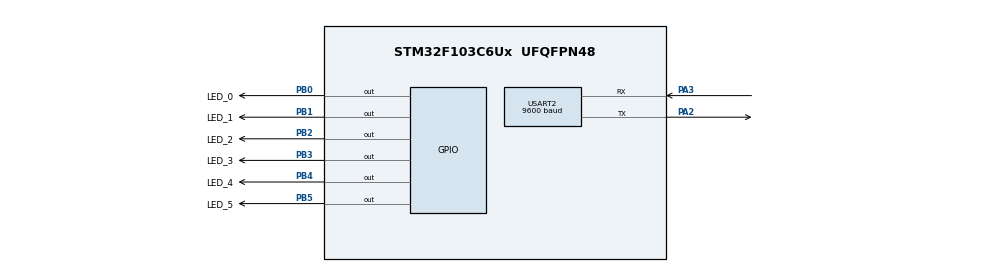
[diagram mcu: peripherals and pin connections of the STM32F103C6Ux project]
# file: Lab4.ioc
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Mcu.Family=STM32F1
Mcu.Name=STM32F103C6Ux
Mcu.Package=UFQFPN48
NVIC.PriorityGroup=NVIC_PRIORITYGROUP_4
NVIC.TIM2_IRQn=true\:0\:0\:false\:false\:true\:true\:true
NVIC.USART2_IRQn=true\:0\:0\:false\:false\:true\:true\:true
PA2.Mode=Asynchronous
PA2.Signal=USART2_TX
PA3.Mode=Asynchronous
PA3.Signal=USART2_RX
PB0.GPIO_Label=LED_0
PB0.Signal=GPIO_Output
PB1.GPIO_Label=LED_1
PB1.Signal=GPIO_Output
PB2.GPIO_Label=LED_2
PB2.Signal=GPIO_Output
PB3.GPIO_Label=LED_3
PB3.Signal=GPIO_Output
PB4.GPIO_Label=LED_4
PB4.Signal=GPIO_Output
PB5.GPIO_Label=LED_5
PB5.Signal=GPIO_Output
ProjectManager.HeapSize=0x200
ProjectManager.StackSize=0x400
ProjectManager.TargetToolchain=STM32CubeIDE
RCC.APB1Freq_Value=8000000
RCC.APB2Freq_Value=8000000
TIM2.Period=10
TIM2.Prescaler=7999
USART2.BaudRate=9600
USART2.VirtualMode=VM_ASYNC
VP_SYS_VS_ND.Mode=No_Debug
VP_TIM2_VS_ClockSourceINT.Mode=Internal
board=custom

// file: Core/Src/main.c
/* USER CODE BEGIN Header */
/**
 ******************************************************************************
 * @file           : main.c
 * @brief          : Main program body
 ******************************************************************************
 * @attention
 *
 * <h2><center>&copy; Copyright (c) 2022 STMicroelectronics.
 * All rights reserved.</center></h2>
 *
 * This software component is licensed by ST under BSD 3-Clause license,
 * the "License"; You may not use this file except in compliance with the
 * License. You may obtain a copy of the License at:
 *                        opensource.org/licenses/BSD-3-Clause
 *
 ******************************************************************************
 */
/* USER CODE END Header */
#include "main.h"

/* USER CODE BEGIN Includes */
#include"stdio.h"
#include"math.h"
#include"scheduler.h"
#include"timer.h"
#include"linkedList.h"
/* USER CODE END Includes */

TIM_HandleTypeDef htim2;

UART_HandleTypeDef huart2;

void SystemClock_Config(void);
static void MX_TIM2_Init(void);
static void MX_GPIO_Init(void);
static void MX_USART2_UART_Init(void);

/* USER CODE BEGIN 0 */
void ledTest_0() {
	HAL_GPIO_TogglePin(LED_0_GPIO_Port, LED_0_Pin);
}
void ledTest_1() {
	HAL_GPIO_TogglePin(LED_1_GPIO_Port, LED_1_Pin);
}
void ledTest_2() {
	HAL_GPIO_TogglePin(LED_2_GPIO_Port, LED_2_Pin);
}
void ledTest_3() {
	HAL_GPIO_TogglePin(LED_3_GPIO_Port, LED_3_Pin);
}
void ledTest_4() {
	HAL_GPIO_TogglePin(LED_4_GPIO_Port, LED_4_Pin);
}
void ledTest_5() {
	HAL_GPIO_TogglePin(LED_5_GPIO_Port, LED_5_Pin);
}
/* USER CODE END 0 */

int main(void) {

	/* MCU Configuration--------------------------------------------------------*/

	/* Reset of all peripherals, Initializes the Flash interface and the Systick. */
	HAL_Init();

	/* Configure the system clock */
	SystemClock_Config();

	/* Initialize all configured peripherals */
	MX_TIM2_Init();
	MX_GPIO_Init();
	MX_USART2_UART_Init();
	/* USER CODE BEGIN 2 */
	HAL_TIM_Base_Start_IT(&htim2);
	/* USER CODE END 2 */

	/* Infinite loop */
	/* USER CODE BEGIN WHILE */
	SCH_Init();
	//Create timer to test SCH_Delete Function
	setTimer0(10000);
	uint8_t send_data[40];
	//Create 5 task
	SCH_Add_Task(ledTest_0, 500, 500);
	uint8_t index1 = SCH_Add_Task(ledTest_1, 500, 1000);
	SCH_Add_Task(ledTest_2, 500, 1500);
	SCH_Add_Task(ledTest_3, 500, 2000);
	SCH_Add_Task(ledTest_4, 500, 2500);
	//Create one shot task
	SCH_Add_Task(ledTest_5, 5000, 0);
	while (1) {
		SCH_Dispatch_Tasks();
		if (timer0_flag == 1) {
			timer0_flag = 0;
			//Delete task
			SCH_Delete_Task(index1);
		}
		if (flag_uart == 1) {
			sprintf((char*) send_data, "Timestamp is %d with TaskID is: %d\r\n",
					data, data_id);
			HAL_UART_Transmit(&huart2, (uint8_t*) send_data, 40, 500);
			flag_uart = 0;
		}
		/* USER CODE END WHILE */

	}
}

void SystemClock_Config(void) {
	RCC_OscInitTypeDef RCC_OscInitStruct = { 0 };
	RCC_ClkInitTypeDef RCC_ClkInitStruct = { 0 };

	/** Initializes the RCC Oscillators according to the specified parameters
	 * in the RCC_OscInitTypeDef structure.
	 */
	RCC_OscInitStruct.OscillatorType = RCC_OSCILLATORTYPE_HSI;
	RCC_OscInitStruct.HSIState = RCC_HSI_ON;
	RCC_OscInitStruct.HSICalibrationValue = RCC_HSICALIBRATION_DEFAULT;
	RCC_OscInitStruct.PLL.PLLState = RCC_PLL_NONE;
	if (HAL_RCC_OscConfig(&RCC_OscInitStruct) != HAL_OK) {
		Error_Handler();
	}
	/** Initializes the CPU, AHB and APB buses clocks
	 */
	RCC_ClkInitStruct.ClockType = RCC_CLOCKTYPE_HCLK | RCC_CLOCKTYPE_SYSCLK
			| RCC_CLOCKTYPE_PCLK1 | RCC_CLOCKTYPE_PCLK2;
	RCC_ClkInitStruct.SYSCLKSource = RCC_SYSCLKSOURCE_HSI;
	RCC_ClkInitStruct.AHBCLKDivider = RCC_SYSCLK_DIV1;
	RCC_ClkInitStruct.APB1CLKDivider = RCC_HCLK_DIV1;
	RCC_ClkInitStruct.APB2CLKDivider = RCC_HCLK_DIV1;

	if (HAL_RCC_ClockConfig(&RCC_ClkInitStruct, FLASH_LATENCY_0) != HAL_OK) {
		Error_Handler();
	}
}

static void MX_TIM2_Init(void) {

	TIM_ClockConfigTypeDef sClockSourceConfig = { 0 };
	TIM_MasterConfigTypeDef sMasterConfig = { 0 };

	htim2.Instance = TIM2;
	htim2.Init.Prescaler = 7999;
	htim2.Init.CounterMode = TIM_COUNTERMODE_UP;
	htim2.Init.Period = 10;
	htim2.Init.ClockDivision = TIM_CLOCKDIVISION_DIV1;
	htim2.Init.AutoReloadPreload = TIM_AUTORELOAD_PRELOAD_DISABLE;
	if (HAL_TIM_Base_Init(&htim2) != HAL_OK) {
		Error_Handler();
	}
	sClockSourceConfig.ClockSource = TIM_CLOCKSOURCE_INTERNAL;
	if (HAL_TIM_ConfigClockSource(&htim2, &sClockSourceConfig) != HAL_OK) {
		Error_Handler();
	}
	sMasterConfig.MasterOutputTrigger = TIM_TRGO_RESET;
	sMasterConfig.MasterSlaveMode = TIM_MASTERSLAVEMODE_DISABLE;
	if (HAL_TIMEx_MasterConfigSynchronization(&htim2, &sMasterConfig)
			!= HAL_OK) {
		Error_Handler();
	}

}

static void MX_USART2_UART_Init(void) {

	huart2.Instance = USART2;
	huart2.Init.BaudRate = 9600;
	huart2.Init.WordLength = UART_WORDLENGTH_8B;
	huart2.Init.StopBits = UART_STOPBITS_1;
	huart2.Init.Parity = UART_PARITY_NONE;
	huart2.Init.Mode = UART_MODE_TX_RX;
	huart2.Init.HwFlowCtl = UART_HWCONTROL_NONE;
	huart2.Init.OverSampling = UART_OVERSAMPLING_16;
	if (HAL_UART_Init(&huart2) != HAL_OK) {
		Error_Handler();
	}

}

static void MX_GPIO_Init(void) {
	GPIO_InitTypeDef GPIO_InitStruct = { 0 };

	/* GPIO Ports Clock Enable */
	__HAL_RCC_GPIOA_CLK_ENABLE();
	__HAL_RCC_GPIOB_CLK_ENABLE();

	/*Configure GPIO pin Output Level */
	HAL_GPIO_WritePin(GPIOB,
	LED_0_Pin | LED_1_Pin | LED_2_Pin | LED_3_Pin | LED_4_Pin | LED_5_Pin,
			GPIO_PIN_RESET);

	/*Configure GPIO pins : LED_0_Pin LED_1_Pin LED_2_Pin LED_3_Pin
	 LED_4_Pin LED_5_Pin */
	GPIO_InitStruct.Pin = LED_0_Pin | LED_1_Pin | LED_2_Pin | LED_3_Pin
			| LED_4_Pin | LED_5_Pin;
	GPIO_InitStruct.Mode = GPIO_MODE_OUTPUT_PP;
	GPIO_InitStruct.Pull = GPIO_NOPULL;
	GPIO_InitStruct.Speed = GPIO_SPEED_FREQ_LOW;
	HAL_GPIO_Init(GPIOB, &GPIO_InitStruct);

}

/* USER CODE BEGIN 4 */
void HAL_TIM_PeriodElapsedCallback(TIM_HandleTypeDef *htim) {
	SCH_Update();
	timerRun();
	timestamp += 10;
}
/* USER CODE END 4 */

void Error_Handler(void) {
	__disable_irq();
	while (1) {
	}
}

/************************ (C) COPYRIGHT STMicroelectronics *****END OF FILE****/
